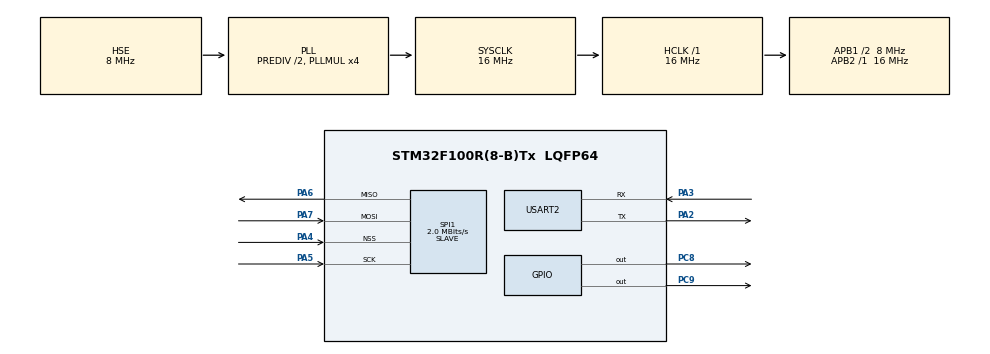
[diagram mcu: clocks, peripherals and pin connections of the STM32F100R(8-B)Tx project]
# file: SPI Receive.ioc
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Mcu.Family=STM32F1
Mcu.Name=STM32F100R(8-B)Tx
Mcu.Package=LQFP64
NVIC.PriorityGroup=NVIC_PRIORITYGROUP_4
NVIC.SPI1_IRQn=true\:0\:0\:false\:false\:true\:true\:true
PA13.Mode=Serial_Wire
PA13.Signal=SYS_JTMS-SWDIO
PA14.Mode=Serial_Wire
PA14.Signal=SYS_JTCK-SWCLK
PA2.Mode=Asynchronous
PA2.Signal=USART2_TX
PA3.Mode=Asynchronous
PA3.Signal=USART2_RX
PA4.Mode=NSS_Signal_Hard_Input
PA4.Signal=SPI1_NSS
PA5.Mode=Full_Duplex_Slave
PA5.Signal=SPI1_SCK
PA6.Mode=Full_Duplex_Slave
PA6.Signal=SPI1_MISO
PA7.Mode=Full_Duplex_Slave
PA7.Signal=SPI1_MOSI
PC8.Signal=GPIO_Output
PC9.Signal=GPIO_Output
PD0-OSC_IN.Mode=HSE-External-Oscillator
PD0-OSC_IN.Signal=RCC_OSC_IN
PD1-OSC_OUT.Mode=HSE-External-Oscillator
PD1-OSC_OUT.Signal=RCC_OSC_OUT
ProjectManager.HeapSize=0x200
ProjectManager.StackSize=0x400
ProjectManager.TargetToolchain=MDK-ARM V5
RCC.AHBFreq_Value=16000000
RCC.APB1CLKDivider=RCC_HCLK_DIV2
RCC.APB1Freq_Value=8000000
RCC.APB1TimFreq_Value=16000000
RCC.APB2Freq_Value=16000000
RCC.APB2TimFreq_Value=16000000
RCC.HCLKFreq_Value=16000000
RCC.HSEDivPLL=RCC_HSE_PREDIV_DIV2
RCC.PLLMUL=RCC_PLL_MUL4
RCC.PLLSource=RCC_PLLSOURCE_HSE
RCC.SYSCLKFreq_VALUE=16000000
RCC.SYSCLKSource=RCC_SYSCLKSOURCE_PLLCLK
SPI1.BaudRatePrescaler=SPI_BAUDRATEPRESCALER_8
SPI1.CalculateBaudRate=2.0 MBits/s
SPI1.Direction=SPI_DIRECTION_2LINES
SPI1.Mode=SPI_MODE_SLAVE
SPI1.VirtualNSS=VM_NSSHARD
SPI1.VirtualType=VM_SLAVE
USART2.VirtualMode=VM_ASYNC
VP_CRC_VS_CRC.Mode=CRC_Activate
board=custom

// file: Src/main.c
/* USER CODE BEGIN Header */
/**
  ******************************************************************************
  * @file           : main.c
  * @brief          : Main program body
  ******************************************************************************
  * @attention
  *
  * <h2><center>&copy; Copyright (c) 2019 STMicroelectronics.
  * All rights reserved.</center></h2>
  *
  * This software component is licensed by ST under BSD 3-Clause license,
  * the "License"; You may not use this file except in compliance with the
  * License. You may obtain a copy of the License at:
  *                        opensource.org/licenses/BSD-3-Clause
  *
  ******************************************************************************
  */
/* USER CODE END Header */

#include "main.h"

CRC_HandleTypeDef hcrc;

SPI_HandleTypeDef hspi1;

UART_HandleTypeDef huart2;

/* USER CODE BEGIN PV */
//uint8_t strReceive[14] = {0};	// Строка для приема

uint8_t str_Tx[24] = {0};
uint8_t str_Rx[24] = {0};
int flag = 0;
/* USER CODE END PV */

void SystemClock_Config(void);
static void MX_GPIO_Init(void);
static void MX_SPI1_Init(void);
static void MX_CRC_Init(void);
static void MX_USART2_UART_Init(void);
/* USER CODE BEGIN PFP */
void MK_Processing(uint8_t *s); // Заменяем на * все цифры
/* USER CODE END PFP */

/* USER CODE BEGIN 0 */
void HAL_SPI_RxCpltCallback(SPI_HandleTypeDef *hspi)
{
	if(hspi == &hspi1)
  {
    if(hspi1.RxXferCount == 0)
    {
			flag = 1;
    }
  }
}
/* USER CODE END 0 */

int main(void)
{
  /* USER CODE BEGIN 1 */
	uint32_t Rx_Message_CRC[6] = {0};
	uint32_t Tx_Message_CRC[5] = {0};
	uint32_t CRC_Rx;
	uint32_t CRC_Tx;
  /* USER CODE END 1 */

  /* MCU Configuration--------------------------------------------------------*/

  /* Reset of all peripherals, Initializes the Flash interface and the Systick. */
  HAL_Init();

  /* Configure the system clock */
  SystemClock_Config();

  /* Initialize all configured peripherals */
  MX_GPIO_Init();
  MX_SPI1_Init();
  MX_CRC_Init();
  MX_USART2_UART_Init();
  /* USER CODE BEGIN 2 */
	//HAL_SPI_Receive_IT(&hspi1, strReceive, 14);
  /* USER CODE END 2 */

  /* Infinite loop */
  /* USER CODE BEGIN WHILE */
  while (1)
  {
		HAL_SPI_Receive_IT(&hspi1, str_Rx, 24); // Ожидание прерыания на прием по SPI
		if (flag == 1) // Обработка прерывания
			{
				// Подготовка к вычислению контрольной суммы принятого собщения
				for (int i = 0, j = 0; i < 6; i++, j+=4)
						{
							Rx_Message_CRC[i] = str_Rx[j+3] | (str_Rx[j+2] << 8) | (str_Rx[j+1] << 16) | (str_Rx[j] << 24);
						}

				CRC_Rx = HAL_CRC_Calculate(&hcrc, Rx_Message_CRC, 6); // Вычисление CRC принимаемого сообщения
				if (CRC_Rx == 0) // Если CRC(data+CRC) == 0, то ошибок при передаче не было
				{
						// Успешный прием
						HAL_GPIO_TogglePin(GPIOC, GPIO_PIN_9);
						HAL_Delay(2000);
						HAL_GPIO_TogglePin(GPIOC, GPIO_PIN_9);
						/*
							МК	Обработка
						*/
						for (int i = 0; i < 20; i++)
						str_Tx[i] = str_Rx[i];

						MK_Processing(str_Tx);

						for (int i = 0, j = 0; i < 5; i++, j+=4)
						{
							Tx_Message_CRC[i] = str_Tx[j+3] | (str_Tx[j+2] << 8) | (str_Tx[j+1] << 16) | (str_Tx[j] << 24);
						}

						// Формируем новое сообщение с новым CRC
						CRC_Tx = HAL_CRC_Calculate(&hcrc, Tx_Message_CRC, 5);
						for (int i = 20, j = 24; i < 24 ; i++, j-=8)
						str_Tx[i] = (uint8_t)( CRC_Tx >> j);
						HAL_UART_Transmit(&huart2, str_Tx, 24, 1500);
				}
				else
				{
					for (int i = 0; i < 10; i++)
					{
						HAL_GPIO_TogglePin(GPIOC, GPIO_PIN_9);
						HAL_Delay(500);
					}
				}
				//if (strncmp((char *) strReceive, "HELLO WORLD!\r\n",14) == 0)
				flag = 0;
			}
			HAL_Delay(100);
    /* USER CODE END WHILE */

  }
}

void SystemClock_Config(void)
{
  RCC_OscInitTypeDef RCC_OscInitStruct = {0};
  RCC_ClkInitTypeDef RCC_ClkInitStruct = {0};

  /** Initializes the CPU, AHB and APB busses clocks
  */
  RCC_OscInitStruct.OscillatorType = RCC_OSCILLATORTYPE_HSE;
  RCC_OscInitStruct.HSEState = RCC_HSE_ON;
  RCC_OscInitStruct.HSEPredivValue = RCC_HSE_PREDIV_DIV2;
  RCC_OscInitStruct.PLL.PLLState = RCC_PLL_ON;
  RCC_OscInitStruct.PLL.PLLSource = RCC_PLLSOURCE_HSE;
  RCC_OscInitStruct.PLL.PLLMUL = RCC_PLL_MUL4;
  if (HAL_RCC_OscConfig(&RCC_OscInitStruct) != HAL_OK)
  {
    Error_Handler();
  }
  /** Initializes the CPU, AHB and APB busses clocks
  */
  RCC_ClkInitStruct.ClockType = RCC_CLOCKTYPE_HCLK|RCC_CLOCKTYPE_SYSCLK
                              |RCC_CLOCKTYPE_PCLK1|RCC_CLOCKTYPE_PCLK2;
  RCC_ClkInitStruct.SYSCLKSource = RCC_SYSCLKSOURCE_PLLCLK;
  RCC_ClkInitStruct.AHBCLKDivider = RCC_SYSCLK_DIV1;
  RCC_ClkInitStruct.APB1CLKDivider = RCC_HCLK_DIV2;
  RCC_ClkInitStruct.APB2CLKDivider = RCC_HCLK_DIV1;

  if (HAL_RCC_ClockConfig(&RCC_ClkInitStruct, FLASH_LATENCY_0) != HAL_OK)
  {
    Error_Handler();
  }
}

static void MX_CRC_Init(void)
{

  hcrc.Instance = CRC;
  if (HAL_CRC_Init(&hcrc) != HAL_OK)
  {
    Error_Handler();
  }

}

static void MX_SPI1_Init(void)
{

  /* SPI1 parameter configuration*/
  hspi1.Instance = SPI1;
  hspi1.Init.Mode = SPI_MODE_SLAVE;
  hspi1.Init.Direction = SPI_DIRECTION_2LINES;
  hspi1.Init.DataSize = SPI_DATASIZE_8BIT;
  hspi1.Init.CLKPolarity = SPI_POLARITY_LOW;
  hspi1.Init.CLKPhase = SPI_PHASE_1EDGE;
  hspi1.Init.NSS = SPI_NSS_HARD_INPUT;
  hspi1.Init.BaudRatePrescaler = SPI_BAUDRATEPRESCALER_8;
  hspi1.Init.FirstBit = SPI_FIRSTBIT_MSB;
  hspi1.Init.TIMode = SPI_TIMODE_DISABLE;
  hspi1.Init.CRCCalculation = SPI_CRCCALCULATION_DISABLE;
  hspi1.Init.CRCPolynomial = 10;
  if (HAL_SPI_Init(&hspi1) != HAL_OK)
  {
    Error_Handler();
  }

}

static void MX_USART2_UART_Init(void)
{

  huart2.Instance = USART2;
  huart2.Init.BaudRate = 115200;
  huart2.Init.WordLength = UART_WORDLENGTH_8B;
  huart2.Init.StopBits = UART_STOPBITS_1;
  huart2.Init.Parity = UART_PARITY_NONE;
  huart2.Init.Mode = UART_MODE_TX_RX;
  huart2.Init.HwFlowCtl = UART_HWCONTROL_NONE;
  huart2.Init.OverSampling = UART_OVERSAMPLING_16;
  if (HAL_UART_Init(&huart2) != HAL_OK)
  {
    Error_Handler();
  }

}

static void MX_GPIO_Init(void)
{
  GPIO_InitTypeDef GPIO_InitStruct = {0};

  /* GPIO Ports Clock Enable */
  __HAL_RCC_GPIOD_CLK_ENABLE();
  __HAL_RCC_GPIOA_CLK_ENABLE();
  __HAL_RCC_GPIOC_CLK_ENABLE();

  /*Configure GPIO pin Output Level */
  HAL_GPIO_WritePin(GPIOC, GPIO_PIN_8|GPIO_PIN_9, GPIO_PIN_RESET);

  /*Configure GPIO pins : PC8 PC9 */
  GPIO_InitStruct.Pin = GPIO_PIN_8|GPIO_PIN_9;
  GPIO_InitStruct.Mode = GPIO_MODE_OUTPUT_PP;
  GPIO_InitStruct.Pull = GPIO_NOPULL;
  GPIO_InitStruct.Speed = GPIO_SPEED_FREQ_LOW;
  HAL_GPIO_Init(GPIOC, &GPIO_InitStruct);

}

/* USER CODE BEGIN 4 */
void MK_Processing(uint8_t *s)
{
	for (int i = 0; i < 20; i++)
		if(s[i] >= '0' && s[i] <= '9')
			s[i] = '*';
}
/* USER CODE END 4 */

void Error_Handler(void)
{
}

/************************ (C) COPYRIGHT STMicroelectronics *****END OF FILE****/
